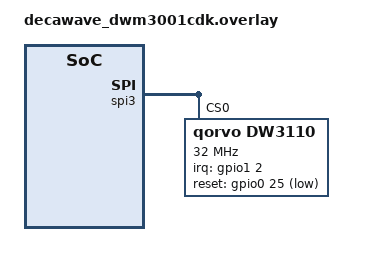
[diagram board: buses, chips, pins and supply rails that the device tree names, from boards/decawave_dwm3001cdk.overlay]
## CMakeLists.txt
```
# SPDX-License-Identifier: Apache-2.0

cmake_minimum_required(VERSION 3.20.0)

list(APPEND BOARD_ROOT ${CMAKE_CURRENT_SOURCE_DIR})

set(RECEPTEC_APP FALSE)
set(ATLETEC_FW_TYPE "ATLETEC UWB firmware")
set(ATLETEC_FW_VARIANT "${BOARD}")
# Sysbuild role override: BOARD is not visible in sysbuild image scope, so
# sysbuild callers select the role explicitly, e.g.
# ATLETEC_ROLE=qorvo-anchor west build --sysbuild ... Legacy
# (-DATLETEC_FIXED_ANCHOR=ON) paths are unchanged.
if("$ENV{ATLETEC_ROLE}" STREQUAL "fake0")
    set(ATLETEC_ROLE_IS_FAKE0 TRUE)
elseif("$ENV{ATLETEC_ROLE}" STREQUAL "fake0-anchor")
    set(ATLETEC_ROLE_IS_FAKE0_ANCHOR TRUE)
elseif("$ENV{ATLETEC_ROLE}" STREQUAL "qorvo")
    set(ATLETEC_ROLE_IS_QORVO TRUE)
elseif("$ENV{ATLETEC_ROLE}" STREQUAL "qorvo-anchor")
    set(ATLETEC_ROLE_IS_QORVO_ANCHOR TRUE)
endif()
if((BOARD STREQUAL "fake_coletec_0/nrf52833" AND ATLETEC_FIXED_ANCHOR) OR ATLETEC_ROLE_IS_FAKE0_ANCHOR)
    set(RECEPTEC_APP TRUE)
    set(RECEPTEC_QORVO TRUE)
    set(RECEPTEC_FIXED_ANCHOR TRUE)
    set(ATLETEC_FW_TYPE "RECEPTEC fixed UWB anchor")
    set(ATLETEC_FW_VARIANT "Anchor 1 on fake-COLETEC-0 / DWM3001C / nRF52833")
    set(CONF_FILE
        ${CMAKE_CURRENT_SOURCE_DIR}/prj.conf;${CMAKE_CURRENT_SOURCE_DIR}/boards/atletec/receptec_qorvo/receptec_qorvo.conf;${CMAKE_CURRENT_SOURCE_DIR}/boards/atletec/coletec/fake_coletec_0_anchor.conf;${CMAKE_CURRENT_SOURCE_DIR}/boards/atletec/coletec/fake_coletec_uart.conf)
elseif(BOARD STREQUAL "receptec/nrf52840")
    set(RECEPTEC_APP TRUE)
    set(RECEPTEC_QORVO FALSE)
    set(ATLETEC_FW_TYPE "RECEPTEC receiver")
    set(ATLETEC_FW_VARIANT "RECEPTEC Type2AB / nRF52840 / DW3720")
    set(DTC_OVERLAY_FILE
        ${CMAKE_CURRENT_SOURCE_DIR}/boards/atletec/receptec/receptec.overlay)
    set(CONF_FILE
        ${CMAKE_CURRENT_SOURCE_DIR}/prj.conf;${CMAKE_CURRENT_SOURCE_DIR}/boards/atletec/receptec/receptec.conf)
elseif((BOARD STREQUAL "receptec_qorvo/nrf52833" AND ATLETEC_FIXED_ANCHOR) OR ATLETEC_ROLE_IS_QORVO_ANCHOR)
    set(RECEPTEC_APP TRUE)
    set(RECEPTEC_QORVO TRUE)
    set(RECEPTEC_FIXED_ANCHOR TRUE)
    set(ATLETEC_FW_TYPE "RECEPTEC fixed UWB anchor")
    set(ATLETEC_FW_VARIANT "BASE A on COLETEC-Qorvo 1 / DWM3001C / nRF52833 / DW3110")
    set(DTC_OVERLAY_FILE
        ${CMAKE_CURRENT_SOURCE_DIR}/boards/atletec/receptec_qorvo/receptec_qorvo.overlay)
    set(CONF_FILE
        ${CMAKE_CURRENT_SOURCE_DIR}/prj.conf;${CMAKE_CURRENT_SOURCE_DIR}/boards/atletec/receptec_qorvo/receptec_qorvo.conf;${CMAKE_CURRENT_SOURCE_DIR}/boards/atletec/receptec_qorvo/receptec_qorvo_anchor.conf)
elseif((BOARD STREQUAL "receptec_qorvo/nrf52833" AND NOT ATLETEC_FIXED_ANCHOR) OR ATLETEC_ROLE_IS_QORVO)
    set(RECEPTEC_APP TRUE)
    set(RECEPTEC_QORVO TRUE)
    set(ATLETEC_FW_TYPE "RECEPTEC receiver")
    set(ATLETEC_FW_VARIANT "RECEPTEC-Qorvo / DWM3001C / nRF52833 / DW3110")
    set(DTC_OVERLAY_FILE
        ${CMAKE_CURRENT_SOURCE_DIR}/boards/atletec/receptec_qorvo/receptec_qorvo.overlay)
    set(CONF_FILE
        ${CMAKE_CURRENT_SOURCE_DIR}/prj.conf;${CMAKE_CURRENT_SOURCE_DIR}/boards/atletec/receptec_qorvo/receptec_qorvo.conf)
elseif((BOARD STREQUAL "fake_coletec_0/nrf52833") OR ATLETEC_ROLE_IS_FAKE0)
    set(ATLETEC_FW_TYPE "fake-COLETEC responder")
    set(ATLETEC_FW_VARIANT "fake-COLETEC-0 / DWM3001C / nRF52833 / DW3110")
    set(CONF_FILE
        ${CMAKE_CURRENT_SOURCE_DIR}/prj.conf
        ${CMAKE_CURRENT_SOURCE_DIR}/boards/atletec/coletec/fake_coletec_uart.conf
        ${CMAKE_CURRENT_SOURCE_DIR}/boards/atletec/coletec/fake_coletec_0_shell.conf)
elseif(BOARD STREQUAL "fake_coletec_1/nrf52833")
    set(ATLETEC_FW_TYPE "fake-COLETEC responder")
    set(ATLETEC_FW_VARIANT "fake-COLETEC-1 / DWM3001C / nRF52833 / DW3110")
    set(CONF_FILE
        ${CMAKE_CURRENT_SOURCE_DIR}/prj.conf
        ${CMAKE_CURRENT_SOURCE_DIR}/boards/atletec/coletec/fake_coletec_uart.conf
        ${CMAKE_CURRENT_SOURCE_DIR}/boards/atletec/coletec/fake_coletec_1_shell.conf)
elseif(BOARD STREQUAL "coletec/nrf52833")
    set(ATLETEC_FW_TYPE "COLETEC-Qorvo UWB responder")
    set(ATLETEC_FW_VARIANT "COLETEC-Qorvo / DWM3001C / nRF52833 / DW3110")
endif()

find_package(Zephyr REQUIRED HINTS $ENV{ZEPHYR_BASE})
project(atletec_firmware)

set(ATLETEC_FW_INFO_HEADER ${CMAKE_CURRENT_BINARY_DIR}/generated/fw_info_build.h)
add_custom_target(atletec_fw_info_metadata
    COMMAND ${CMAKE_COMMAND}
        "-DSRC_DIR=${CMAKE_CURRENT_SOURCE_DIR}"
        "-DOUTPUT=${ATLETEC_FW_INFO_HEADER}"
        "-DFW_TYPE=${ATLETEC_FW_TYPE}"
        "-DFW_VARIANT=${ATLETEC_FW_VARIANT}"
        -P ${CMAKE_CURRENT_SOURCE_DIR}/cmake/gen_fw_info.cmake
    BYPRODUCTS ${ATLETEC_FW_INFO_HEADER}
    COMMENT "Generating firmware identity"
    VERBATIM
)
add_dependencies(app atletec_fw_info_metadata)
target_include_directories(app PRIVATE ${CMAKE_CURRENT_BINARY_DIR}/generated)

set(QORVO_DRIVER_DIR ${CMAKE_CURRENT_SOURCE_DIR}/vendor/qorvo)
set(QORVO_SOURCE_DIR ${CMAKE_CURRENT_SOURCE_DIR}/src/qorvo)

target_include_directories(app PRIVATE
    include
    src
    src/receptec
    ${QORVO_DRIVER_DIR}
    ${QORVO_DRIVER_DIR}/dw3000
    ${QORVO_DRIVER_DIR}/dw3720
    ${QORVO_DRIVER_DIR}/lib/qmath/include
)

if(RECEPTEC_APP)
    target_compile_definitions(app PRIVATE USE_DRV_DW3000)
    if(RECEPTEC_QORVO)
        target_compile_definitions(app PRIVATE RECEPTEC_DW3110_RADIO)
    endif()
    if(RECEPTEC_FIXED_ANCHOR)
        target_compile_definitions(app PRIVATE RECEPTEC_FIXED_ANCHOR)
    endif()
    target_sources(app PRIVATE
        src/receptec/main.c
        src/fw_info_shell.c
        src/led_shell.c
        src/receptec/uwb_protocol.c
        src/receptec/uwb_peer_registry.c
        src/receptec/uwb_peer_storage.c
        src/receptec/uwb_test_result.c
        src/receptec/uwb_test_frames.c
        src/receptec/uwb_test_payload.c
        src/receptec/uwb_radio.c
        src/receptec/uwb_shell.c
        ${QORVO_SOURCE_DIR}/deca_interface.c
        ${QORVO_SOURCE_DIR}/deca_compat.c
        ${QORVO_SOURCE_DIR}/deca_rsl.c
        ${QORVO_SOURCE_DIR}/dw3000/dw3000_device.c
        ${QORVO_SOURCE_DIR}/lib/qmath/src/qmath.c
    )

    if(RECEPTEC_QORVO)
        target_sources(app PRIVATE src/dw3110_port.c)
        target_sources(app PRIVATE src/receptec/ble_range.c)
    else()
        target_compile_definitions(app PRIVATE USE_DRV_DW3720)
        target_sources(app PRIVATE
            src/receptec/dw3720_spi.c
            ${QORVO_SOURCE_DIR}/dw3720/dw3720_device.c
        )
    endif()
else()
    execute_process(
        COMMAND git rev-parse --short HEAD
        WORKING_DIRECTORY ${CMAKE_CURRENT_SOURCE_DIR}
        OUTPUT_VARIABLE DWM_BENCH_GIT_REV
        OUTPUT_STRIP_TRAILING_WHITESPACE
        ERROR_QUIET
    )
    execute_process(
        COMMAND git rev-parse --short HEAD
        WORKING_DIRECTORY ${CMAKE_CURRENT_SOURCE_DIR}/contracts
        OUTPUT_VARIABLE DWM_BENCH_CONTRACTS_REV
        OUTPUT_STRIP_TRAILING_WHITESPACE
        ERROR_QUIET
    )
    if(NOT DWM_BENCH_GIT_REV)
        set(DWM_BENCH_GIT_REV "unknown")
    endif()
    if(NOT DWM_BENCH_CONTRACTS_REV)
        set(DWM_BENCH_CONTRACTS_REV "unknown")
    endif()

    target_compile_definitions(app PRIVATE
        USE_DRV_DW3000
        DWM_BENCH_GIT_REV="${DWM_BENCH_GIT_REV}"
        DWM_BENCH_CONTRACTS_REV="${DWM_BENCH_CONTRACTS_REV}"
    )
    target_sources(app PRIVATE
        src/main.c
        src/ble_ota.c
        src/fw_info_shell.c
        src/protocol.c
        src/coletec_sync.c
        src/dw3110_port.c
        src/dw3110_radio.c
        src/led_shell.c
        src/uwb_shell.c
        ${QORVO_SOURCE_DIR}/deca_compat.c
        ${QORVO_SOURCE_DIR}/deca_interface.c
        ${QORVO_SOURCE_DIR}/deca_rsl.c
        ${QORVO_SOURCE_DIR}/dw3000/dw3000_device.c
        ${QORVO_SOURCE_DIR}/lib/qmath/src/qmath.c
    )
endif()

set_source_files_properties(
    ${QORVO_SOURCE_DIR}/deca_compat.c
    ${QORVO_SOURCE_DIR}/deca_interface.c
    ${QORVO_SOURCE_DIR}/deca_rsl.c
    ${QORVO_SOURCE_DIR}/dw3000/dw3000_device.c
    ${QORVO_SOURCE_DIR}/dw3720/dw3720_device.c
    ${QORVO_SOURCE_DIR}/lib/qmath/src/qmath.c
    PROPERTIES COMPILE_FLAGS
    "-Wno-unused-parameter -Wno-sign-compare -Wno-missing-field-initializers"
)
```

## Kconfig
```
mainmenu "Atletec RECEPTEC and UWB bench firmware"

config DWM_COLETEC_INSTANCE
	int
	range 0 1
	default 1 if BOARD_FAKE_COLETEC_1
	default 0
	help
	  Select the on-air COLETEC peer identity for a fake-COLETEC DWM surrogate.
	  The fake_coletec_0 and fake_coletec_1 board targets set this value to 0
	  and 1 respectively.
	  These targets are responders and must never be used as RECEPTEC.

config RECEPTEC_FIXED_ANCHOR_ID
	int "Fixed anchor identity"
	range 0 1
	default 0
	help
	  Selects the on-air identity of a fixed RECEPTEC application. Anchor 0
	  uses the established RECEPTEC EUI; anchor 1 uses a separate EUI for the
	  fake-coletec-0 carrier when built in fixed-anchor mode.

config RECEPTEC_SLOTTED_AUTOSTART
	bool "Start the RECEPTEC slotted schedule at boot"
	default n
	help
	  Starts the four-peer periodic DATA_REQ schedule automatically. Normal
	  interactive builds leave this disabled so the radio remains idle until
	  the operator enters "uwb slotted start". Dedicated automated test
	  fragments enable it explicitly.

config RECEPTEC_COLETEC_HW_FRAME_FILTER
	bool "Enable DW3110 destination EUI-64 filtering on the COLETEC"
	default y
	help
	  Programs the COLETEC's on-air EUI-64 into the DW3110 and enables
	  IEEE 802.15.4 Data Frame filtering. The RECEPTEC role remains
	  unfiltered, and firmware continues to validate destination, source,
	  type, length, and sequence.

config RECEPTEC_TEST_DROP_ACKS
	int "Responses to drop at the start of each transaction"
	range 0 2
	default 0
	help
	  Test-only fault injection. A value of 1 or 2 makes the COLETEC skip
	  that many valid responses per new sequence so deterministic retry
	  offsets can be verified. Production and normal bench builds use zero.

config RECEPTEC_TEST_BAD_ACKS
	int "Wrong-sequence responses at the start of each transaction"
	range 0 2
	default 0
	help
	  Test-only stale-frame injection. A value of 1 or 2 makes the COLETEC
	  return that many hardware-FCS-valid responses with sequence + 1 before
	  using the request sequence. Production and normal bench builds use zero.

config RECEPTEC_TEST_SILENCE_AFTER
	int "Completed transactions before a one-time request silence"
	range 0 1000000
	default 0
	help
	  Test-only synchronization fault injection. A nonzero value pauses the
	  RECEPTEC after this many completed transactions. Normal builds use zero.

config RECEPTEC_TEST_SILENT_SLOTS
	int "Sampling periods in the one-time request silence"
	range 0 1000
	default 0
	help
	  Number of one-second sampling periods skipped by the test-only silence.
	  This has no effect when RECEPTEC_TEST_SILENCE_AFTER is zero.

config RECEPTEC_TEST_STOP_AFTER
	int "Completed DATA transactions before sending STOP"
	range 0 1000000
	default 0
	help
	  Test-only STOP trigger. A nonzero value makes RECEPTEC send one STOP
	  transaction after this many completed DATA transactions. Normal builds
	  use zero and continue DATA polling.

config RECEPTEC_TEST_STOP_PEER_SLOT
	int "Peer slot targeted by the test STOP"
	range 0 3
	default 0
	help
	  Selects which fixed RWD peer receives the test-only STOP transaction.
	  Slot 0 is the DWM surrogate and slot 1 is the production COLETEC.

config RECEPTEC_TEST_SYNC_AFTER
	int "Completed DATA transactions before sending SYNC"
	range 0 1000000
	default 0
	help
	  Test-only SYNC trigger. A nonzero value makes RECEPTEC send one SYNC
	  transaction after this many completed DATA transactions. Normal builds
	  use zero and continue DATA polling.

config RECEPTEC_TEST_SYNC_PEER_SLOT
	int "Peer slot targeted by the test SYNC"
	range 0 3
	default 0
	help
	  Selects which fixed RWD peer receives the test-only SYNC transaction.
	  Slot 0 is the DWM surrogate and slot 1 is the production COLETEC.

config RECEPTEC_TEST_OUT_OF_SLOT_AFTER
	int "Completed DATA transactions before an out-of-slot request"
	range 0 1000000
	default 0
	help
	  Test-only RX-window probe. A nonzero value sends one correctly
	  addressed DATA_REQ at 200 ms from the cycle epoch, after all configured
	  slots have ended. A response is a test failure. Normal builds use zero.

config RECEPTEC_TEST_OUT_OF_SLOT_PEER_SLOT
	int "Peer targeted by the out-of-slot request"
	range 0 3
	default 1
	help
	  Selects which fixed RWD peer receives the test-only out-of-slot probe.
	  Slot 1 is the production COLETEC.

config RECEPTEC_TEST_WRONG_DESTINATION_AFTER
	int "Completed transactions before the wrong-destination probe"
	range 0 1000000
	default 0
	help
	  Test-only address-filter qualification. A nonzero value replaces the
	  selected peers' normal request in one cycle with a correctly formed
	  DATA_REQ addressed to an unknown EUI-64. No response is expected.

config RECEPTEC_TEST_WRONG_DESTINATION_PEER_MASK
	int "Peer-slot mask for the wrong-destination probe"
	range 0 15
	default 0
	help
	  Bit mask selecting the fixed peer slots to probe. Bit 0 selects the
	  DWM surrogate and bit 1 selects the production COLETEC. Use 3 to test
	  both live peers in the same fixed schedule cycle.

config RECEPTEC_TEST_SAMPLING_PERIOD_MS
	int "Sampling period in milliseconds (test-only acceleration)"
	range 50 1000
	default 1000
	help
	  Test-only soak acceleration. Below 100 ms only two slots fit in a period,
	  so a run that short may register at most two COLETECs. Shortens T_sampling so that many
	  transactions fit in a bounded run. It must be identical in the RECEPTEC
	  and COLETEC images, which scripts/build-both.sh guarantees when the
	  value comes from a tests/*.conf fragment. The normal and production
	  value is 1000 ms; a peer that is not built with the same value (the
	  production COLETEC) will not stay synchronized. The lower bound leaves
	  the four fixed slots room to finish. Silence and out-of-slot tests
	  assume the normal period and are rejected at build time otherwise.

config RECEPTEC_TEST_POLL_PEER_MASK
	int "Peer-slot mask polled by the slotted DATA schedule"
	range 1 15
	default 15
	help
	  Bit mask of the fixed peer slots that the slotted schedule polls with
	  DATA_REQ. Normal builds poll all four slots. A soak of the DWM
	  surrogate uses 1 so that the production COLETEC is not polled at a
	  cadence it is not built for. Manual one-shot tests and the periodic
	  SYNC ignore this mask.

config RECEPTEC_UWB_RADIO
	bool "Initialize the RECEPTEC UWB radio and enable its peer shell"
	default n
	help
	  Initialize the target-specific Qorvo DW3xxx radio and enable the shared
	  RECEPTEC peer registry, persistent storage, polling and SYNC shell.

config RECEPTEC_STOP_TIMEOUT_US
	int "STOP_ACK response timeout in microseconds (0 disables STOP)"
	range 0 1000000
	default 0
	help
	  The protocol revision 1.1 leaves Ttimeout unspecified. STOP remains
	  disabled until a measured or approved value is supplied explicitly.
	  The upper bound keeps the converted Qorvo RX timeout within its register.

source "Kconfig.zephyr"
```

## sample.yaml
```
sample:
  description: Two DWM3001C fake-COLETEC surrogates for the Atletec UWB bench
  name: Atletec fake-COLETEC DWM bench
tests:
  application.dwm_uwb_bench.fake_coletec_0.build:
    build_only: true
    platform_allow:
      - fake_coletec_0/nrf52833
    tags:
      - uwb
      - protocol
      - coletec
  application.dwm_uwb_bench.fake_coletec_1.build:
    build_only: true
    platform_allow:
      - fake_coletec_1/nrf52833
    tags:
      - uwb
      - protocol
      - coletec
```

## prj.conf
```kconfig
CONFIG_HWINFO=y

# Retransmission backoff jitter (protocol-v1.0 4.2) needs a random source.
CONFIG_ENTROPY_GENERATOR=y
CONFIG_GPIO=y
CONFIG_SPI=y
CONFIG_MAIN_STACK_SIZE=2048
CONFIG_SERIAL=y
CONFIG_CONSOLE=y
CONFIG_UART_CONSOLE=n
CONFIG_SHELL=y
CONFIG_SHELL_BACKEND_SERIAL=y
CONFIG_USE_SEGGER_RTT=y
CONFIG_SHELL_BACKEND_RTT=y
CONFIG_SHELL_CMD_BUFF_SIZE=128
CONFIG_SHELL_STACK_SIZE=3072
CONFIG_SHELL_PROMPT_BUFF_SIZE=40
CONFIG_DEVICE_SHELL=n
CONFIG_DATE_SHELL=n
CONFIG_DEVMEM_SHELL=n
CONFIG_KERNEL_SHELL=n

# Remote UWB commissioning applies staged settings through a confirmed reboot.
CONFIG_REBOOT=y
```

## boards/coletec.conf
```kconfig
CONFIG_RECEPTEC_ROLE_COLETEC=y
```

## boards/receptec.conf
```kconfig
CONFIG_RECEPTEC_ROLE_RECEPTEC=y
```

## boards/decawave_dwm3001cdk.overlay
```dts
/*
 * DWM3001C internal DW3110 connections.
 *
 * SPDX-License-Identifier: Apache-2.0
 */

&spi3 {
	dw3110: dw3110@0 {
		compatible = "qorvo,dw3110";
		reg = <0>;
		spi-max-frequency = <32000000>;
		irq-gpios = <&gpio1 2 GPIO_ACTIVE_HIGH>;
		reset-gpios = <&gpio0 25 GPIO_ACTIVE_LOW>;
		status = "okay";
	};
};
```

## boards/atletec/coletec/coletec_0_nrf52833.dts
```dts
/* SPDX-License-Identifier: Apache-2.0 */

/dts-v1/;
#include <nordic/nrf52833_qdaa.dtsi>
#include "../common/dwm3001cdk-pinctrl.dtsi"
#include "../common/dwm3001cdk.dtsi"

/ {
	model = "Atletec COLETEC-0 UWB bench surrogate";
	compatible = "atletec,coletec-0-bench";
};
```

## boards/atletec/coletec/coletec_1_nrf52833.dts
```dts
/* SPDX-License-Identifier: Apache-2.0 */

/dts-v1/;
#include <nordic/nrf52833_qdaa.dtsi>
#include "../common/dwm3001cdk-pinctrl.dtsi"
#include "../common/dwm3001cdk.dtsi"

/ {
	model = "Atletec fake-COLETEC-1 UWB bench surrogate";
	compatible = "atletec,fake-coletec-1-bench";
};
```

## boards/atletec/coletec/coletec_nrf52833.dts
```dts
/* SPDX-License-Identifier: Apache-2.0 */

/dts-v1/;
#include <nordic/nrf52833_qdaa.dtsi>
#include "../common/dwm3001cdk-pinctrl.dtsi"
#include "../common/dwm3001cdk.dtsi"

/ {
	model = "Atletec COLETEC UWB bench endpoint";
	compatible = "atletec,coletec-bench";
};
```

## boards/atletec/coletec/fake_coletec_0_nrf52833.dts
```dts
/* SPDX-License-Identifier: Apache-2.0 */

/dts-v1/;
#include <nordic/nrf52833_qdaa.dtsi>
#include "../common/dwm3001cdk-pinctrl.dtsi"
#include "../common/dwm3001cdk.dtsi"

/ {
	model = "Atletec fake-COLETEC-0 UWB bench surrogate";
	compatible = "atletec,fake-coletec-0-bench";

	aliases {
		boot-power-led = &led0;
		external-power-led = &external_green_led;
		/* OTA pilot (atletec-64a): MCUboot serial-recovery entrance. */
		mcuboot-button0 = &button2;
	};
};

/*
 * OTA pilot (atletec-64a Fase 1): symmetric 224 KB image slots so a
 * BLE+SMP anchor image (~221 KB) fits both slots with rollback.
 * Takes 8 KB from storage (24 KB -> 16 KB); NVS keeps 4x 4 KB sectors.
 */
&slot1_partition {
	reg = <0x00044000 0x38000>;
};

&flash0 {
	partitions {
		/delete-node/ partition@7a000;
		storage_partition: partition@7c000 {
			label = "storage";
			reg = <0x0007C000 0x00004000>;
		};
	};
};
```

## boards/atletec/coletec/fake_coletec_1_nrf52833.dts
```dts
/* SPDX-License-Identifier: Apache-2.0 */

/dts-v1/;
#include <nordic/nrf52833_qdaa.dtsi>
#include "../common/dwm3001cdk-pinctrl.dtsi"
#include "../common/dwm3001cdk.dtsi"

/ {
	model = "Atletec fake-COLETEC-1 UWB bench surrogate";
	compatible = "atletec,fake-coletec-1-bench";

	aliases {
		boot-power-led = &led0;
		external-power-led = &external_green_led;
	};
};
```

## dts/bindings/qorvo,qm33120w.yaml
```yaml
# SPDX-License-Identifier: Apache-2.0

description: Qorvo QM33120W UWB transceiver in the Murata Type 2AB module

compatible: "qorvo,qm33120w"

include: spi-device.yaml

properties:
  irq-gpios:
    type: phandle-array
    required: true
    description: Active-high interrupt output from the QM33120W.

  reset-gpios:
    type: phandle-array
    required: true
    description: Active-low reset input to the QM33120W.

  wakeup-gpios:
    type: phandle-array
    required: true
    description: Active-high wake input to the QM33120W.
```

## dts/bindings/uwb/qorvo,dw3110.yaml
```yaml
description: Qorvo DW3110 ultra-wideband transceiver

compatible: "qorvo,dw3110"

include: spi-device.yaml

properties:
  irq-gpios:
    type: phandle-array
    required: true
    description: Active-high DW3110 interrupt signal

  reset-gpios:
    type: phandle-array
    required: true
    description: Active-low open-drain DW3110 reset signal
```

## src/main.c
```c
#include <stddef.h>
#include <stdbool.h>
#include <stdint.h>

#include <zephyr/drivers/gpio.h>
#include <zephyr/drivers/hwinfo.h>
#include <zephyr/sys/util.h>
#include <zephyr/sys/printk.h>

#include <receptec/dw3110_radio.h>

#include "ble_ota.h"

#define DEVICE_ID_SIZE 8U
#define ROLE_LED_NODE DT_ALIAS(role_led)

static const struct gpio_dt_spec role_led =
	GPIO_DT_SPEC_GET(ROLE_LED_NODE, gpios);

static void print_device_id(const uint8_t *device_id, size_t length)
{
	printk("Nordic device ID:");
	for (size_t i = 0U; i < length; ++i) {
		printk("%s%02X", i == 0U ? " " : ":", device_id[i]);
	}
	printk("\n");
}

static void configure_role_indicator(void)
{
	int status;

	if (!gpio_is_ready_dt(&role_led)) {
		printk("Role indicator GPIO is not ready\n");
		return;
	}
	status = gpio_pin_configure_dt(&role_led,
				       GPIO_OUTPUT_INACTIVE);
	if (status < 0) {
		printk("Failed to configure role indicator: %d\n",
		       status);
		return;
	}

	status = gpio_pin_set_dt(&role_led, 1);
	if (status < 0) {
		printk("Failed to light role indicator: %d\n", status);
		return;
	}
	printk("Role indicator: blue LED on\n");
}

int main(void)
{
	uint8_t device_id[DEVICE_ID_SIZE];
	ssize_t length;
	bool receptec_role;

	length = hwinfo_get_device_id(device_id, sizeof(device_id));
	if (length < 0) {
		printk("Failed to read Nordic device ID: %d\n", (int)length);
		return (int)length;
	}

	if ((size_t)length != sizeof(device_id)) {
		printk("Unexpected Nordic device ID length: %d (expected %u)\n",
		       (int)length, (unsigned int)sizeof(device_id));
		return -1;
	}

	receptec_role = IS_ENABLED(CONFIG_BOARD_RECEPTEC_QORVO);
	printk("Atletec DWM UWB bench\n");
	printk("Board: %s\n", CONFIG_BOARD_TARGET);
	printk("Build: %s contracts: %s\n", DWM_BENCH_GIT_REV,
	       DWM_BENCH_CONTRACTS_REV);
	print_device_id(device_id, (size_t)length);
	if (receptec_role) {
		printk("Role: RECEPTEC\n");
	} else {
		printk("Role: fake-COLETEC-%u surrogate (on-air COLETEC-%u)\n",
		       CONFIG_DWM_COLETEC_INSTANCE,
		       CONFIG_DWM_COLETEC_INSTANCE);
	}
	configure_role_indicator();

	if (!receptec_role) {
		atletec_ble_ota_init();
	}

	if (dw3110_radio_init() < 0) {
		printk("DW3110 bring-up failed\n");
		return -1;
	}

	return dw3110_radio_start_protocol(receptec_role);
}
```

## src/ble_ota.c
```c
/* SPDX-License-Identifier: Apache-2.0 */

#include "ble_ota.h"

#if defined(CONFIG_BT)

#include <zephyr/bluetooth/bluetooth.h>
#include <zephyr/bluetooth/conn.h>
#include <zephyr/kernel.h>
#include <zephyr/sys/printk.h>

static const struct bt_data adv_data[] = {
	BT_DATA_BYTES(BT_DATA_FLAGS,
		      (BT_LE_AD_GENERAL | BT_LE_AD_NO_BREDR)),
	BT_DATA(BT_DATA_NAME_COMPLETE, CONFIG_BT_DEVICE_NAME,
		sizeof(CONFIG_BT_DEVICE_NAME) - 1U),
};

static int ble_ota_adv_start(void)
{
	return bt_le_adv_start(BT_LE_ADV_CONN_FAST_1, adv_data,
			       ARRAY_SIZE(adv_data), NULL, 0);
}

static struct k_work_delayable adv_work;

static void adv_worker(struct k_work *work)
{
	int ret;

	ARG_UNUSED(work);
	ret = ble_ota_adv_start();
	if (ret < 0 && ret != -EALREADY) {
		printk("BLE OTA: re-advertise failed (%d)\n", ret);
	}
	/* Self-healing watchdog: BT does not restart advertising on its
	 * own, and a restart straight from the disconnect callback is
	 * not reliable. Re-check every 30 s. */
	k_work_reschedule(&adv_work, K_SECONDS(30));
}

static void ble_ota_disconnected(struct bt_conn *conn, uint8_t reason)
{
	ARG_UNUSED(conn);
	ARG_UNUSED(reason);
	k_work_init_delayable(&adv_work, adv_worker);
	k_work_reschedule(&adv_work, K_MSEC(500));
}

BT_CONN_CB_DEFINE(ble_ota_conn_callbacks) = {
	.disconnected = ble_ota_disconnected,
};

static void ble_ota_thread_entry(void *a, void *b, void *c)
{
	int ret;

	ARG_UNUSED(a);
	ARG_UNUSED(b);
	ARG_UNUSED(c);

	ret = bt_enable(NULL);
	if (ret < 0) {
		printk("BLE OTA: not available (%d); UWB unaffected\n", ret);
		return;
	}
	printk("BLE OTA: advertising as '%s'\n", bt_get_name());
	ret = ble_ota_adv_start();
	if (ret < 0) {
		printk("BLE OTA: advertise failed (%d); UWB unaffected\n",
		       ret);
		return;
	}
	printk("BLE OTA: SMP service up\n");
	k_work_init_delayable(&adv_work, adv_worker);
	k_work_reschedule(&adv_work, K_SECONDS(30));
}

void atletec_ble_ota_init(void)
{
	static struct k_thread ble_thread;
	static K_THREAD_STACK_DEFINE(ble_stack, 2048);

	k_thread_create(&ble_thread, ble_stack, K_THREAD_STACK_SIZEOF(ble_stack),
			ble_ota_thread_entry, NULL, NULL, NULL,
			K_PRIO_COOP(7), 0, K_NO_WAIT);
	k_thread_name_set(&ble_thread, "ble_ota");
}

#else

void atletec_ble_ota_init(void)
{
}

#endif /* CONFIG_BT */
```

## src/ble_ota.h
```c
/* SPDX-License-Identifier: Apache-2.0 */

#ifndef BLE_OTA_H
#define BLE_OTA_H

/* OTA pilot (atletec-64a Fase 2): BLE peripheral carrying only the mcumgr
 * SMP service (auto-registered by MCUMGR_TRANSPORT_BT). No custom GATT
 * service here; UWB ranging is unaffected by design (separate radio).
 * Compiled in only when CONFIG_BT is enabled (see ble_ota.c). */
void atletec_ble_ota_init(void);

#endif /* BLE_OTA_H */
```

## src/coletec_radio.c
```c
/* SPDX-License-Identifier: Apache-2.0 */

#include <receptec/coletec_radio.h>

#include <errno.h>
#include <stdbool.h>
#include <stdint.h>
#include <string.h>

#include <zephyr/kernel.h>
#include <zephyr/sys/printk.h>

#include <deca_device_api.h>
#include <deca_interface.h>

#include <receptec/coletec_sync.h>
#include <receptec/dw3110_port.h>
#include <receptec/protocol.h>

#define DW3110_IDLE_RC_POLL_US 10U
#define DW3110_IDLE_RC_POLLS 1000U
#define DW3110_TX_ANTENNA_DELAY 16385U
#define DW3110_RX_ANTENNA_DELAY 16385U
#define DW3110_RESPONSE_DELAY_US 2000U
#define DW3110_SAMPLING_PERIOD_US 1000000U
#define DW3110_SLOT_DURATION_US 20000U
#define DW3110_TIMESTAMP_MASK ((1ULL << 40) - 1ULL)
#define DW3110_IRQ_EVENT_MASK \
	(DWT_INT_TXFRS_BIT_MASK | DWT_INT_RXFCG_BIT_MASK | \
	 SYS_STATUS_ALL_RX_ERR | SYS_STATUS_ALL_RX_TO)
#define DW3110_UWB_THREAD_STACK_SIZE 4096U
#define DW3110_UWB_THREAD_PRIORITY 0
#define FRAME_SEQUENCE_OFFSET 2U
#define FRAME_TYPE_OFFSET 19U
#define COLETEC_EMPTY_RESPONSE_RADIO_LENGTH \
	(RECEPTEC_PROTOCOL_HEADER_SIZE + RECEPTEC_PROTOCOL_FCS_SIZE)
#define COLETEC_DATA_RADIO_LENGTH \
	(RECEPTEC_PROTOCOL_MAX_LOGICAL_SIZE + RECEPTEC_PROTOCOL_FCS_SIZE)

/* Addresses are IEEE 802.15.4 on-air byte order (least-significant octet
 * first).  Change them only with the matching RECEPTEC configuration. */
static const uint8_t receptec_eui[RECEPTEC_PROTOCOL_EUI64_SIZE] = {
	0x41, 0x16, 0xA8, 0x06, 0x82, 0xF3, 0xC6, 0x3E,
};
static const uint8_t coletec_eui[RECEPTEC_PROTOCOL_EUI64_SIZE] = {
	0x31, 0x5D, 0x02, 0xD5, 0x15, 0x8C, 0xFA, 0x40,
};

struct coletec_runtime {
	uint64_t previous_nominal_slot;
	uint32_t next_slot_dx;
	uint8_t previous_sequence;
	uint32_t requests;
	uint32_t data_responses;
	uint32_t sync_responses;
	uint32_t stop_responses;
	uint32_t late_schedules;
	uint32_t rejected_frames;
	uint16_t last_irq_to_arm_us;
	uint16_t max_irq_to_arm_us;
	bool have_previous_request;
	bool stopped;
	uint8_t stop_sequence;
};

static uint8_t protocol_rx_bytes[RECEPTEC_PROTOCOL_MAX_LOGICAL_SIZE];
static K_THREAD_STACK_DEFINE(uwb_thread_stack, DW3110_UWB_THREAD_STACK_SIZE);
static struct k_thread uwb_thread;
static bool radio_started;

extern const struct dwt_driver_s dw3000_driver;

static const struct dwt_driver_s *driver_list[] = {
	&dw3000_driver,
};

static struct dwt_probe_s probe = {
	.dw = NULL,
	.spi = NULL,
	.wakeup_device_with_io = dw3110_port_wakeup,
	.driver_list = (struct dwt_driver_s **)driver_list,
	.dw_driver_num = ARRAY_SIZE(driver_list),
};

static dwt_config_t radio_config = {
	.chan = 9U,
	.txPreambLength = DWT_PLEN_128,
	.rxPAC = DWT_PAC8,
	.txCode = 9U,
	.rxCode = 9U,
	.sfdType = DWT_SFD_DW_8,
	.dataRate = DWT_BR_6M8,
	.phrMode = DWT_PHRMODE_STD,
	.phrRate = DWT_PHRRATE_STD,
	.sfdTO = 129U,
	.stsMode = DWT_STS_MODE_OFF,
	.stsLength = DWT_STS_LEN_64,
	.pdoaMode = DWT_PDOA_M0,
};

static dwt_txconfig_t tx_config = {
	.PGdly = 0x34U,
	.power = 0xFDFDFDFDUL,
	.PGcount = 0U,
};

/* DW3xxx time is based on 499.2 MHz: 1 us = 319488 / 5 DTU. */
static uint64_t us_to_dtu(uint64_t us)
{
	return (us * 319488ULL + 2ULL) / 5ULL;
}

/* dwt_setdelayedtrxtime() consumes system-time bits 39:8. */
static uint32_t us_to_dx_time(uint32_t us)
{
	return (uint32_t)(((uint64_t)us * 1248ULL + 2ULL) / 5ULL);
}

/* Qorvo RX timeout arguments use 512 / 499.2 MHz = 40 / 39 us units. */
static uint32_t us_to_rx_timeout(uint32_t us)
{
	return (uint32_t)(((uint64_t)us * 39ULL + 39ULL) / 40ULL);
}

static uint32_t dx_time_to_us(uint32_t dx_time)
{
	return (uint32_t)(((uint64_t)dx_time * 5ULL) / 1248ULL);
}

static uint64_t timestamp_to_u64(const uint8_t timestamp[5])
{
	uint64_t value = 0U;

	for (int i = 4; i >= 0; --i) {
		value = (value << 8) | timestamp[i];
	}
	return value;
}

static uint64_t read_rx_timestamp(void)
{
	uint8_t timestamp[5];

	dwt_readrxtimestamp(timestamp, DWT_COMPAT_NONE);
	return timestamp_to_u64(timestamp);
}

static void clear_radio_events(void)
{
	dwt_writesysstatuslo(DW3110_IRQ_EVENT_MASK);
	dw3110_port_irq_clear();
}

static uint32_t wait_for_radio_event(uint32_t requested_events,
				     k_timeout_t timeout)
{
	for (;;) {
		uint32_t radio_status = dwt_readsysstatuslo();
		uint32_t unrelated_events =
			radio_status & DW3110_IRQ_EVENT_MASK & ~requested_events;

		if ((radio_status & requested_events) != 0U) {
			return radio_status;
		}
		if (unrelated_events != 0U) {
			dwt_writesysstatuslo(unrelated_events);
		}
		if (dw3110_port_wait_irq(timeout) < 0) {
			return 0U;
		}
	}
}

static int configure_frame_filter(void)
{
	uint8_t readback_eui[RECEPTEC_PROTOCOL_EUI64_SIZE];

	dwt_seteui((uint8_t *)coletec_eui);
	dwt_geteui(readback_eui);
	if (memcmp(readback_eui, coletec_eui, sizeof(readback_eui)) != 0) {
		return -EIO;
	}
	dwt_configureframefilter(DWT_FF_ENABLE_802_15_4, DWT_FF_DATA_EN);
	return 0;
}

static int enable_protocol_irq(void)
{
	clear_radio_events();
	dwt_setinterrupt(DW3110_IRQ_EVENT_MASK, 0U, DWT_ENABLE_INT_ONLY);
	return dw3110_port_irq_enable(true);
}

static int preload_data_response(void)
{
	uint8_t bytes[RECEPTEC_PROTOCOL_MAX_PSDU_SIZE] = { 0 };
	uint8_t payload[RECEPTEC_PROTOCOL_MAX_PAYLOAD_SIZE];
	struct receptec_frame data = {
		.sequence = 0U,
		.type = RECEPTEC_PACKET_DATA,
		.payload = payload,
		.payload_length = sizeof(payload),
	};
	size_t logical_length;

	memcpy(payload, coletec_eui, sizeof(coletec_eui));
	for (size_t i = sizeof(coletec_eui); i < sizeof(payload); ++i) {
		payload[i] = (uint8_t)i;
	}
	memcpy(data.destination, receptec_eui, sizeof(receptec_eui));
	memcpy(data.source, coletec_eui, sizeof(coletec_eui));
	if (receptec_protocol_encode(bytes, RECEPTEC_PROTOCOL_MAX_LOGICAL_SIZE,
				    &data, &logical_length) != RECEPTEC_PROTOCOL_OK) {
		return -EINVAL;
	}
	if (dwt_writetxdata((uint16_t)(logical_length + RECEPTEC_PROTOCOL_FCS_SIZE),
			    bytes, 0U) != DWT_SUCCESS) {
		return -EIO;
	}
	dwt_writetxfctrl(COLETEC_DATA_RADIO_LENGTH, 0U, 0U);
	return 0;
}

static int arm_immediate_rx(uint32_t timeout_us)
{
	dwt_forcetrxoff();
	clear_radio_events();
	dwt_setrxtimeout(us_to_rx_timeout(timeout_us));
	return dwt_rxenable(DWT_START_RX_IMMEDIATE) == DWT_SUCCESS ? 0 : -EIO;
}

static int arm_delayed_rx(uint32_t start_dx, uint32_t timeout_us)
{
	dwt_forcetrxoff();
	clear_radio_events();
	dwt_setrxtimeout(us_to_rx_timeout(timeout_us));
	dwt_setdelayedtrxtime(start_dx);
	return dwt_rxenable(DWT_START_RX_DELAYED | DWT_IDLE_ON_DLY_ERR) ==
		       DWT_SUCCESS ? 0 : -ETIME;
}

static int read_request(uint32_t radio_status, struct receptec_frame *request,
			uint64_t *rx_timestamp, uint16_t *dt_sampling_us)
{
	uint16_t frame_length;
	uint16_t logical_length;
	uint8_t ranging;

	if ((radio_status & DWT_INT_RXFCG_BIT_MASK) == 0U) {
		return -EIO;
	}
	frame_length = dwt_getframelength(&ranging);
	if (frame_length < RECEPTEC_PROTOCOL_HEADER_SIZE + RECEPTEC_PROTOCOL_FCS_SIZE ||
	    frame_length > RECEPTEC_PROTOCOL_MAX_PSDU_SIZE) {
		return -EMSGSIZE;
	}
	logical_length = frame_length - RECEPTEC_PROTOCOL_FCS_SIZE;
	dwt_readrxdata(protocol_rx_bytes, logical_length, 0U);
	if (receptec_protocol_decode(protocol_rx_bytes, logical_length, request) !=
	    RECEPTEC_PROTOCOL_OK ||
	    memcmp(request->destination, coletec_eui, sizeof(coletec_eui)) != 0 ||
	    memcmp(request->source, receptec_eui, sizeof(receptec_eui)) != 0) {
		return -EBADMSG;
	}
	if (request->type == RECEPTEC_PACKET_STOP) {
		*dt_sampling_us = 0U;
	} else if (request->type == RECEPTEC_PACKET_DATA_REQ ||
		   request->type == RECEPTEC_PACKET_SYNC) {
		*dt_sampling_us = receptec_protocol_decode_dt_sampling(request->payload);
	} else {
		return -EBADMSG;
	}
	*rx_timestamp = read_rx_timestamp();
	return 0;
}

static void update_next_slot(struct coletec_runtime *runtime,
			     uint64_t request_rx_timestamp, uint16_t dt_sampling_us)
{
	uint64_t next_nominal_slot = (request_rx_timestamp +
		us_to_dtu(DW3110_SAMPLING_PERIOD_US) - us_to_dtu(dt_sampling_us)) &
		DW3110_TIMESTAMP_MASK;

	runtime->next_slot_dx = (uint32_t)(next_nominal_slot >> 8);
}

static int send_response(struct coletec_runtime *runtime,
			 enum receptec_packet_type type, uint8_t sequence,
			 uint64_t request_rx_timestamp)
{
	uint64_t scheduled_tx_timestamp = request_rx_timestamp +
		us_to_dtu(DW3110_RESPONSE_DELAY_US) - DW3110_TX_ANTENNA_DELAY;
	uint8_t type_byte = (uint8_t)type;
	uint32_t irq_cycles = dw3110_port_last_irq_cycles();

	if (dwt_writetxdata(1U, &sequence, FRAME_SEQUENCE_OFFSET) != DWT_SUCCESS ||
	    dwt_writetxdata(1U, &type_byte, FRAME_TYPE_OFFSET) != DWT_SUCCESS) {
		return -EIO;
	}
	dwt_writetxfctrl(type == RECEPTEC_PACKET_DATA ? COLETEC_DATA_RADIO_LENGTH :
			COLETEC_EMPTY_RESPONSE_RADIO_LENGTH, 0U, 0U);
	dwt_setdelayedtrxtime((uint32_t)(scheduled_tx_timestamp >> 8));
	runtime->last_irq_to_arm_us = (uint16_t)MIN(
		k_cyc_to_us_floor32(k_cycle_get_32() - irq_cycles), UINT16_MAX);
	if (runtime->last_irq_to_arm_us > runtime->max_irq_to_arm_us) {
		runtime->max_irq_to_arm_us = runtime->last_irq_to_arm_us;
	}
	if (dwt_starttx(DWT_START_TX_DELAYED) != DWT_SUCCESS) {
		runtime->late_schedules++;
		clear_radio_events();
		return -ETIME;
	}
	(void)wait_for_radio_event(DWT_INT_TXFRS_BIT_MASK, K_FOREVER);
	dwt_writesysstatuslo(DWT_INT_TXFRS_BIT_MASK);
	return 0;
}

static bool handle_request(struct coletec_runtime *runtime,
			   struct coletec_sync *sync,
			   const struct receptec_frame *request,
			   uint64_t rx_timestamp, uint16_t dt_sampling_us)
{
	if (runtime->stopped && request->sequence != runtime->stop_sequence) {
		return false;
	}
	runtime->requests++;
	if (request->type == RECEPTEC_PACKET_STOP) {
		runtime->stopped = true;
		runtime->stop_sequence = request->sequence;
		if (send_response(runtime, RECEPTEC_PACKET_STOP_ACK, request->sequence,
				  rx_timestamp) == 0) {
			runtime->stop_responses++;
		}
		return true;
	}

	update_next_slot(runtime, rx_timestamp, dt_sampling_us);
	runtime->previous_sequence = request->sequence;
	runtime->have_previous_request = true;
	if (request->type == RECEPTEC_PACKET_SYNC) {
		if (send_response(runtime, RECEPTEC_PACKET_ACK, request->sequence,
				  rx_timestamp) == 0) {
			runtime->sync_responses++;
		}
	} else if (send_response(runtime, RECEPTEC_PACKET_DATA, request->sequence,
				 rx_timestamp) == 0) {
		runtime->data_responses++;
	}
	coletec_sync_accept_request(sync);
	return true;
}

static uint32_t remaining_rx_us(uint32_t deadline_dx)
{
	int32_t remaining_dx = (int32_t)(deadline_dx - dwt_readsystimestamphi32());

	return remaining_dx > 0 ? dx_time_to_us((uint32_t)remaining_dx) : 0U;
}

/* Keep listening for the rest of the slot after every response.  This is the
 * response-loss recovery model: an initiator retry can still be received. */
static bool listen_until_slot_deadline(struct coletec_runtime *runtime,
				       struct coletec_sync *sync, uint32_t deadline_dx)
{
	bool valid_request_seen = false;

	for (;;) {
		struct receptec_frame request;
		uint64_t rx_timestamp;
		uint16_t dt_sampling_us;
		uint32_t remaining_us = remaining_rx_us(deadline_dx);
		uint32_t radio_status;

		if (remaining_us == 0U || arm_immediate_rx(remaining_us) < 0) {
			return valid_request_seen;
		}
		radio_status = wait_for_radio_event(DWT_INT_RXFCG_BIT_MASK |
			SYS_STATUS_ALL_RX_ERR | SYS_STATUS_ALL_RX_TO, K_FOREVER);
		if (read_request(radio_status, &request, &rx_timestamp,
				 &dt_sampling_us) == 0) {
			valid_request_seen |= handle_request(runtime, sync, &request,
							 rx_timestamp, dt_sampling_us);
		} else {
			runtime->rejected_frames++;
		}
	}
}

static bool listen_open_period(struct coletec_runtime *runtime,
			       struct coletec_sync *sync, uint32_t duration_ms)
{
	int64_t end_ms = k_uptime_get() + duration_ms;

	if (arm_immediate_rx(0U) < 0) {
		return false;
	}
	while (k_uptime_get() < end_ms) {
		struct receptec_frame request;
		uint64_t rx_timestamp;
		uint16_t dt_sampling_us;
		uint32_t radio_status = wait_for_radio_event(DWT_INT_RXFCG_BIT_MASK |
			SYS_STATUS_ALL_RX_ERR | SYS_STATUS_ALL_RX_TO,
			K_MSEC(end_ms - k_uptime_get()));

		if (radio_status == 0U) {
			break;
		}
		if (read_request(radio_status, &request, &rx_timestamp,
				 &dt_sampling_us) == 0) {
			if (handle_request(runtime, sync, &request, rx_timestamp,
					   dt_sampling_us)) {
				uint32_t deadline = request.type == RECEPTEC_PACKET_STOP ?
					(uint32_t)(rx_timestamp >> 8) +
					us_to_dx_time(DW3110_SLOT_DURATION_US) :
					runtime->next_slot_dx -
					us_to_dx_time(DW3110_SAMPLING_PERIOD_US) +
					us_to_dx_time(DW3110_SLOT_DURATION_US +
						       COLETEC_BASE_GUARD_US);

				(void)listen_until_slot_deadline(runtime, sync, deadline);
				return true;
			}
		} else {
			runtime->rejected_frames++;
		}
		if (arm_immediate_rx(0U) < 0) {
			break;
		}
	}
	dwt_forcetrxoff();
	return false;
}

static void listen_synchronized_slot(struct coletec_runtime *runtime,
				     struct coletec_sync *sync)
{
	uint32_t guard_us = coletec_sync_guard_us(sync);
	uint32_t window_start = runtime->next_slot_dx - us_to_dx_time(guard_us);
	uint32_t window_deadline = runtime->next_slot_dx +
		us_to_dx_time(DW3110_SLOT_DURATION_US + guard_us);
	uint32_t window_duration = DW3110_SLOT_DURATION_US + 2U * guard_us;
	bool valid_request_seen = false;

	if (arm_delayed_rx(window_start, window_duration) == 0) {
		struct receptec_frame request;
		uint64_t rx_timestamp;
		uint16_t dt_sampling_us;
		uint32_t radio_status = wait_for_radio_event(DWT_INT_RXFCG_BIT_MASK |
			SYS_STATUS_ALL_RX_ERR | SYS_STATUS_ALL_RX_TO, K_FOREVER);

		if (read_request(radio_status, &request, &rx_timestamp,
				 &dt_sampling_us) == 0) {
			valid_request_seen = handle_request(runtime, sync, &request,
							  rx_timestamp, dt_sampling_us);
		} else {
			runtime->rejected_frames++;
		}
		valid_request_seen |= listen_until_slot_deadline(runtime, sync,
							window_deadline);
	}
	if (valid_request_seen) {
		return;
	}
	runtime->next_slot_dx += us_to_dx_time(DW3110_SAMPLING_PERIOD_US);
	coletec_sync_miss_slot(sync);
}

static int run_coletec(void)
{
	struct coletec_runtime runtime = { 0 };
	struct coletec_sync sync;
	int status;

	status = configure_frame_filter();
	if (status < 0) {
		return status;
	}
	status = preload_data_response();
	if (status < 0) {
		return status;
	}
	status = enable_protocol_irq();
	if (status < 0) {
		return status;
	}
	coletec_sync_init(&sync);
	printk("COLETEC ready: initial RX=%u ms, response delay=%u us\n",
	       COLETEC_INITIAL_RX_MS, DW3110_RESPONSE_DELAY_US);
	if (!listen_open_period(&runtime, &sync, COLETEC_INITIAL_RX_MS)) {
		coletec_sync_initial_rx_expired(&sync);
		printk("COLETEC initial RX expired; entering discovery\n");
	}

	while (!runtime.stopped) {
		if (sync.state == COLETEC_SYNC_SYNCHRONIZED) {
			listen_synchronized_slot(&runtime, &sync);
			continue;
		}
		printk("COLETEC discovery ON: %u ms (off multiplier=%u)\n",
		       COLETEC_DISCOVERY_ON_MS, sync.discovery_off_multiplier);
		(void)listen_open_period(&runtime, &sync, COLETEC_DISCOVERY_ON_MS);
		if (sync.state != COLETEC_SYNC_SYNCHRONIZED) {
			coletec_sync_discovery_on_expired(&sync);
			k_sleep(K_MSEC(coletec_sync_discovery_off_ms(&sync)));
		}
	}

	dwt_forcetrxoff();
	printk("COLETEC stopped: requests=%u DATA=%u ACK=%u STOP_ACK=%u late=%u rejected=%u max-arm=%u us\n",
	       runtime.requests, runtime.data_responses, runtime.sync_responses,
	       runtime.stop_responses, runtime.late_schedules, runtime.rejected_frames,
	       runtime.max_irq_to_arm_us);
	return 0;
}

int coletec_radio_init(void)
{
	uint32_t poll;
	int status;

	status = dw3110_port_init();
	if (status < 0) {
		return status;
	}
	status = dw3110_port_reset();
	if (status < 0) {
		return status;
	}
	probe.spi = (void *)dw3110_port_spi();
	if (dwt_probe(&probe) != DWT_SUCCESS) {
		return -ENODEV;
	}
	for (poll = 0U; poll < DW3110_IDLE_RC_POLLS; ++poll) {
		if (dwt_checkidlerc() != 0U) {
			break;
		}
		k_busy_wait(DW3110_IDLE_RC_POLL_US);
	}
	if (poll == DW3110_IDLE_RC_POLLS) {
		return -ETIMEDOUT;
	}
	if (dwt_initialise(DWT_READ_OTP_ALL) != DWT_SUCCESS ||
	    dwt_check_dev_id() != DWT_SUCCESS ||
	    dwt_configure(&radio_config) != DWT_SUCCESS) {
		return -EIO;
	}
	dwt_configuretxrf(&tx_config);
	dwt_settxantennadelay(DW3110_TX_ANTENNA_DELAY);
	dwt_setrxantennadelay(DW3110_RX_ANTENNA_DELAY);
	dwt_setinterrupt(0U, 0U, DWT_ENABLE_INT_ONLY);
	return dw3110_port_irq_enable(false);
}

static void uwb_thread_entry(void *unused_a, void *unused_b, void *unused_c)
{
	ARG_UNUSED(unused_a);
	ARG_UNUSED(unused_b);
	ARG_UNUSED(unused_c);
	printk("COLETEC UWB thread started: priority=%d\n",
	       DW3110_UWB_THREAD_PRIORITY);
	printk("COLETEC UWB thread exited: status=%d\n", run_coletec());
}

int coletec_radio_start(void)
{
	if (radio_started) {
		return -EALREADY;
	}
	radio_started = true;
	k_thread_create(&uwb_thread, uwb_thread_stack,
			K_THREAD_STACK_SIZEOF(uwb_thread_stack), uwb_thread_entry,
			NULL, NULL, NULL, K_PRIO_PREEMPT(DW3110_UWB_THREAD_PRIORITY),
			0U, K_NO_WAIT);
	(void)k_thread_name_set(&uwb_thread, "coletec_uwb");
	return 0;
}
```

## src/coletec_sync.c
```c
/* SPDX-License-Identifier: Apache-2.0 */

#include <receptec/coletec_sync.h>

static void enter_discovery(struct coletec_sync *sync)
{
	sync->state = COLETEC_SYNC_DISCOVERY;
	sync->missed_slots = 0U;
	sync->discovery_cycle_count = 0U;
	sync->discovery_off_multiplier = 1U;
}

void coletec_sync_init(struct coletec_sync *sync)
{
	sync->state = COLETEC_SYNC_INITIAL_RX;
	sync->missed_slots = 0U;
	sync->discovery_cycle_count = 0U;
	sync->discovery_off_multiplier = 1U;
}

void coletec_sync_accept_request(struct coletec_sync *sync)
{
	sync->state = COLETEC_SYNC_SYNCHRONIZED;
	sync->missed_slots = 0U;
	sync->discovery_cycle_count = 0U;
	sync->discovery_off_multiplier = 1U;
}

void coletec_sync_initial_rx_expired(struct coletec_sync *sync)
{
	enter_discovery(sync);
}

void coletec_sync_miss_slot(struct coletec_sync *sync)
{
	if (sync->state != COLETEC_SYNC_SYNCHRONIZED) {
		return;
	}
	if (++sync->missed_slots >= COLETEC_MISSES_BEFORE_DISCOVERY) {
		enter_discovery(sync);
	}
}

void coletec_sync_discovery_on_expired(struct coletec_sync *sync)
{
	if (sync->state != COLETEC_SYNC_DISCOVERY) {
		return;
	}
	if (++sync->discovery_cycle_count >=
	    COLETEC_DISCOVERY_CYCLES_PER_STEP) {
		sync->discovery_cycle_count = 0U;
		if (sync->discovery_off_multiplier <
		    COLETEC_DISCOVERY_MAX_OFF_MULTIPLIER) {
			sync->discovery_off_multiplier++;
		}
	}
}

uint16_t coletec_sync_guard_us(const struct coletec_sync *sync)
{
	return COLETEC_BASE_GUARD_US +
	       (uint16_t)sync->missed_slots * COLETEC_GUARD_STEP_US;
}

uint32_t coletec_sync_discovery_off_ms(const struct coletec_sync *sync)
{
	return (uint32_t)sync->discovery_off_multiplier *
	       COLETEC_DISCOVERY_OFF_MS;
}
```

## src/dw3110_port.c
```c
/* SPDX-License-Identifier: Apache-2.0 */

#include <receptec/dw3110_port.h>

#include <errno.h>
#include <stdint.h>
#include <string.h>

#include <zephyr/devicetree.h>
#include <zephyr/drivers/gpio.h>
#include <zephyr/drivers/spi.h>
#include <zephyr/irq.h>
#include <zephyr/kernel.h>

#include <deca_device_api.h>

#define DW3110_NODE DT_NODELABEL(dw3110)
#define DW3110_SPI_SLOW_HZ 2000000U
#define DW3110_SPI_FAST_HZ 32000000U
#define DW3110_SPI_BUFFER_SIZE 256U
#define DW3110_RESET_ASSERT_US 10U
#define DW3110_RESET_RECOVERY_MS 5U
#define DW3110_WAKE_CS_US 600U

#define DW3110_SPI_OPERATION \
	(SPI_OP_MODE_MASTER | SPI_WORD_SET(8) | SPI_TRANSFER_MSB)

static const struct spi_dt_spec dw3110_spi =
	SPI_DT_SPEC_GET(DW3110_NODE, DW3110_SPI_OPERATION);
static const struct gpio_dt_spec dw3110_reset =
	GPIO_DT_SPEC_GET(DW3110_NODE, reset_gpios);
static const struct gpio_dt_spec dw3110_irq =
	GPIO_DT_SPEC_GET(DW3110_NODE, irq_gpios);

static struct spi_config active_spi_config;
static struct gpio_callback irq_callback;
static K_SEM_DEFINE(irq_sem, 0, 1);
static volatile uint32_t last_irq_cycles;
static uint8_t spi_tx_buffer[DW3110_SPI_BUFFER_SIZE];
static uint8_t spi_rx_buffer[DW3110_SPI_BUFFER_SIZE];
static bool port_ready;

static int32_t read_from_spi(uint16_t header_length, uint8_t *header_buffer,
			     uint16_t read_length, uint8_t *read_buffer)
{
	size_t total_length = (size_t)header_length + read_length;
	const struct spi_buf tx_buffer = {
		.buf = spi_tx_buffer,
		.len = total_length,
	};
	const struct spi_buf rx_buffer = {
		.buf = spi_rx_buffer,
		.len = total_length,
	};
	const struct spi_buf_set tx_set = {
		.buffers = &tx_buffer,
		.count = 1U,
	};
	const struct spi_buf_set rx_set = {
		.buffers = &rx_buffer,
		.count = 1U,
	};

	if (header_buffer == NULL || read_buffer == NULL ||
	    total_length > sizeof(spi_tx_buffer)) {
		return DWT_ERROR;
	}

	memcpy(spi_tx_buffer, header_buffer, header_length);
	memset(&spi_tx_buffer[header_length], 0, read_length);

	if (spi_transceive(dw3110_spi.bus, &active_spi_config, &tx_set,
			   &rx_set) < 0) {
		return DWT_ERROR;
	}

	memcpy(read_buffer, &spi_rx_buffer[header_length], read_length);
	return DWT_SUCCESS;
}

static int32_t write_to_spi(uint16_t header_length,
			    const uint8_t *header_buffer,
			    uint16_t body_length,
			    const uint8_t *body_buffer)
{
	const struct spi_buf buffers[] = {
		{
			.buf = (void *)header_buffer,
			.len = header_length,
		},
		{
			.buf = (void *)body_buffer,
			.len = body_length,
		},
	};
	const struct spi_buf_set set = {
		.buffers = buffers,
		.count = body_length == 0U ? 1U : 2U,
	};

	if (header_buffer == NULL || (body_length > 0U && body_buffer == NULL)) {
		return DWT_ERROR;
	}

	return spi_write(dw3110_spi.bus, &active_spi_config, &set) < 0
		       ? DWT_ERROR
		       : DWT_SUCCESS;
}

static int32_t write_to_spi_with_crc(uint16_t header_length,
				     const uint8_t *header_buffer,
				     uint16_t body_length,
				     const uint8_t *body_buffer,
				     uint8_t crc)
{
	const struct spi_buf buffers[] = {
		{
			.buf = (void *)header_buffer,
			.len = header_length,
		},
		{
			.buf = (void *)body_buffer,
			.len = body_length,
		},
		{
			.buf = &crc,
			.len = sizeof(crc),
		},
	};
	const struct spi_buf_set set = {
		.buffers = buffers,
		.count = body_length == 0U ? 2U : 3U,
	};

	if (header_buffer == NULL || (body_length > 0U && body_buffer == NULL)) {
		return DWT_ERROR;
	}

	return spi_write(dw3110_spi.bus, &active_spi_config, &set) < 0
		       ? DWT_ERROR
		       : DWT_SUCCESS;
}

static void set_slow_rate(void)
{
	active_spi_config.frequency = DW3110_SPI_SLOW_HZ;
}

static void set_fast_rate(void)
{
	active_spi_config.frequency = DW3110_SPI_FAST_HZ;
}

static struct dwt_spi_s qorvo_spi = {
	.readfromspi = read_from_spi,
	.writetospi = write_to_spi,
	.writetospiwithcrc = write_to_spi_with_crc,
	.setslowrate = set_slow_rate,
	.setfastrate = set_fast_rate,
};

static void irq_gpio_handler(const struct device *port,
			     struct gpio_callback *callback,
			     gpio_port_pins_t pins)
{
	ARG_UNUSED(port);
	ARG_UNUSED(callback);
	ARG_UNUSED(pins);
	last_irq_cycles = k_cycle_get_32();
	k_sem_give(&irq_sem);
}

int dw3110_port_init(void)
{
	int status;

	if (!spi_is_ready_dt(&dw3110_spi) ||
	    !gpio_is_ready_dt(&dw3110_reset) ||
	    !gpio_is_ready_dt(&dw3110_irq) ||
	    !gpio_is_ready_dt(&dw3110_spi.config.cs.gpio)) {
		return -ENODEV;
	}

	memcpy(&active_spi_config, &dw3110_spi.config,
	       sizeof(active_spi_config));
	set_slow_rate();

	status = gpio_pin_configure_dt(&dw3110_reset, GPIO_INPUT);
	if (status < 0) {
		return status;
	}

	status = gpio_pin_configure_dt(&dw3110_irq, GPIO_INPUT);
	if (status < 0) {
		return status;
	}

	status = gpio_pin_interrupt_configure_dt(&dw3110_irq,
						 GPIO_INT_DISABLE);
	if (status < 0) {
		return status;
	}

	k_sem_reset(&irq_sem);
	gpio_init_callback(&irq_callback, irq_gpio_handler,
			   BIT(dw3110_irq.pin));
	status = gpio_add_callback(dw3110_irq.port, &irq_callback);
	if (status < 0) {
		return status;
	}

	port_ready = true;
	return 0;
}

int dw3110_port_reset(void)
{
	int status;

	if (!port_ready) {
		return -EACCES;
	}

	status = gpio_pin_configure_dt(&dw3110_reset, GPIO_OUTPUT_ACTIVE);
	if (status < 0) {
		return status;
	}
	k_busy_wait(DW3110_RESET_ASSERT_US);

	status = gpio_pin_configure_dt(&dw3110_reset, GPIO_INPUT);
	if (status < 0) {
		return status;
	}
	k_msleep(DW3110_RESET_RECOVERY_MS);
	set_slow_rate();

	return 0;
}

int dw3110_port_irq_enable(bool enable)
{
	if (!port_ready) {
		return -EACCES;
	}

	return gpio_pin_interrupt_configure_dt(
		&dw3110_irq, enable ? GPIO_INT_EDGE_TO_ACTIVE : GPIO_INT_DISABLE);
}

void dw3110_port_irq_clear(void)
{
	k_sem_reset(&irq_sem);
}

int dw3110_port_wait_irq(k_timeout_t timeout)
{
	int irq_active = gpio_pin_get_dt(&dw3110_irq);

	if (irq_active < 0) {
		return irq_active;
	}
	if (irq_active != 0) {
		return 0;
	}
	return k_sem_take(&irq_sem, timeout);
}

uint32_t dw3110_port_last_irq_cycles(void)
{
	return last_irq_cycles;
}

const struct dwt_spi_s *dw3110_port_spi(void)
{
	return &qorvo_spi;
}

void dw3110_port_wakeup(void)
{
	const struct gpio_dt_spec *chip_select =
		&dw3110_spi.config.cs.gpio;

	if (!port_ready) {
		return;
	}

	if (gpio_pin_configure_dt(chip_select, GPIO_OUTPUT_ACTIVE) < 0) {
		return;
	}
	k_busy_wait(DW3110_WAKE_CS_US);
	(void)gpio_pin_set_dt(chip_select, 0);
	k_busy_wait(50U);
}

void deca_sleep(unsigned int time_ms)
{
	k_msleep(time_ms);
}

void deca_usleep(unsigned long time_us)
{
	k_busy_wait((uint32_t)time_us);
}

decaIrqStatus_t decamutexon(void)
{
	return (decaIrqStatus_t)irq_lock();
}

void decamutexoff(decaIrqStatus_t state)
{
	irq_unlock((unsigned int)state);
}
```
